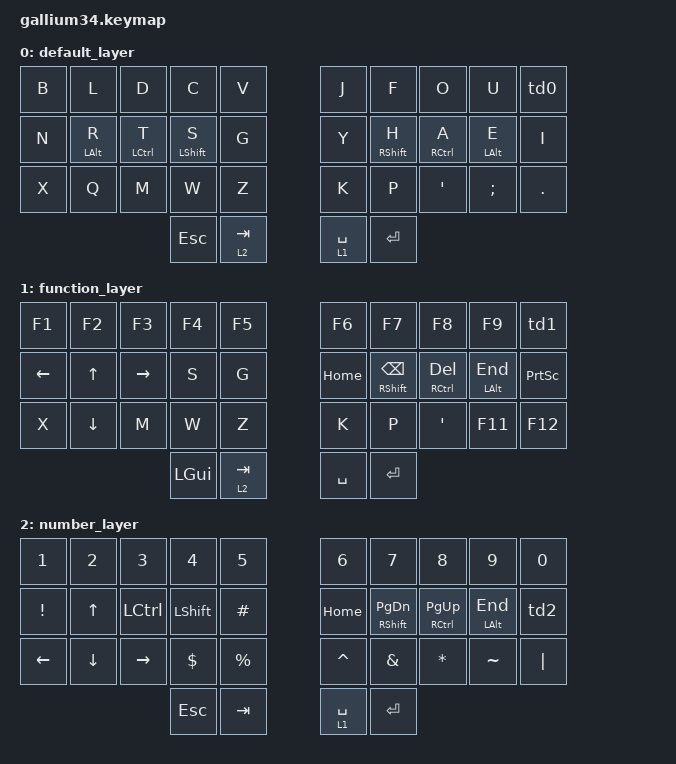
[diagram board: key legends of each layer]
#include <behaviors.dtsi>
#include <dt-bindings/zmk/keys.h>
#include <dt-bindings/zmk/bt.h>

&soft_off {
    hold-time-ms = <5000>;
};

#define QUICK_TAP_MS 175
#define KEYS_L 0 1 2 3 4 10 11 12 13 14 20 21 22 23 24 30 31 32 33 // left hand
#define KEYS_R 5 6 7 8 9 15 16 17 18 19 25 26 27 28 29 30 31 32 33 // right hand

/ {
    behaviors {
        hm: homerow_mods {
            compatible = "zmk,behavior-hold-tap";
            #binding-cells = <2>;
            tapping-term-ms = <150>;
            quick-tap-ms = <0>;
            flavor = "tap-preferred";
            bindings = <&kp>, <&kp>;
        };
        lhm: homerow_left {
            compatible = "zmk,behavior-hold-tap";
            #binding-cells = <2>;
            flavor = "balanced";
            tapping-term-ms = <280>;
            quick-tap-ms = <QUICK_TAP_MS>;
            require-prior-idle-ms = <150>;
            bindings = <&kp>, <&kp>;
            hold-trigger-key-positions = <KEYS_R>;
            hold-trigger-on-release;
        };
        rhm: homerow_right {
            compatible = "zmk,behavior-hold-tap";
            #binding-cells = <2>;
            flavor = "balanced";
            tapping-term-ms = <280>;
            quick-tap-ms = <QUICK_TAP_MS>;
            require-prior-idle-ms = <150>;
            bindings = <&kp>, <&kp>;
            hold-trigger-key-positions = <KEYS_L>;
            hold-trigger-on-release;
        };
        mo_kp: behavior_mo_tog {
            compatible = "zmk,behavior-hold-tap";
            #binding-cells = <2>;
            flavor = "hold-preferred";
            tapping-term-ms = <200>;
            bindings = <&mo>, <&kp>;
        };
        td0: tap_dance_0 {
            compatible = "zmk,behavior-tap-dance";
            #binding-cells = <0>;
            tapping-term-ms = <200>;
            bindings = <&kp COMMA>, <&to 0>, <&to 1>;
        };
        td1: tap_dance_1 {
            compatible = "zmk,behavior-tap-dance";
            #binding-cells = <0>;
            tapping-term-ms = <200>;
            bindings = <&kp F10>, <&to 0>, <&to 1>;
        };
        td2: tap_dance_2 {
            compatible = "zmk,behavior-tap-dance";
            #binding-cells = <0>;
            tapping-term-ms = <200>;
            bindings = <&kp AT>, <&bt BT_CLR>, <&soft_off>;
        };
    };
    keymap {
        compatible = "zmk,keymap";

        // This is a sample keymap intended to be replaced with your own
        default_layer { // gallium homerow
            bindings = <
                &kp B &kp L       &kp D       &kp C        &kp V        &kp J          &kp F        &kp O        &kp U       &td0
                &kp N &lhm LALT R &hm LCTRL T &lhm LSHFT S &kp G        &kp Y          &rhm RSHFT H &rhm RCTRL A &rhm LALT E &kp I
                &kp X &kp Q       &kp M       &kp W        &kp Z        &kp K          &kp P        &kp SQT      &kp SEMI    &kp DOT
                                              &kp ESC      &mo_kp 2 TAB &mo_kp 1 SPACE &kp RET
            >;
        };
        function_layer {
            bindings = <
                &kp F1   &kp F2   &kp F3    &kp F4    &kp F5       &kp F6    &kp F7          &kp F8         &kp F9        &td1
                &kp LEFT &kp UP   &kp RIGHT &kp S     &kp G        &kp HOME  &rhm RSHFT BSPC &rhm RCTRL DEL &rhm LALT END &kp PSCRN
                &kp X    &kp DOWN &kp M     &kp W     &kp Z        &kp K     &kp P           &kp SQT        &kp F11       &kp F12
                                            &kp LGUI  &mo_kp 2 TAB &kp SPACE &kp RET
            >;
        };
        number_layer {
            bindings = <
                &kp N1   &kp N2   &kp N3    &kp N4     &kp N5    &kp N6         &kp N7           &kp N8           &kp N9        &kp N0
                &kp EXCL &kp UP   &kp LCTRL &kp LSHIFT &kp HASH  &kp HOME       &rhm RSHFT PG_DN &rhm RCTRL PG_UP &rhm LALT END &td2
                &kp LEFT &kp DOWN &kp RIGHT &kp DLLR   &kp PRCNT &kp CARET      &kp AMPS         &kp STAR         &kp TILDE     &kp PIPE
                                            &kp ESC    &kp TAB   &mo_kp 1 SPACE &kp RET
            >;
        };
    };
    combos {
        compatible = "zmk,combos";
        combo_bracket_left {
            timeout-ms = <60>;
            key-positions = <1 2>;
            bindings = <&kp LBKT>;
        };
        combo_bracket_right {
            timeout-ms = <50>;
            key-positions = <2 3>;
            bindings = <&kp RBKT>;
        };
        combo_paren_left {
            timeout-ms = <50>;
            key-positions = <6 7>;
            bindings = <&kp LPAR>;
        };
        combo_paren_right {
            timeout-ms = <60>;
            key-positions = <7 8>;
            bindings = <&kp RPAR>;
        };
        combo_minus {
            timeout-ms = <60>;
            key-positions = <21 22>;
            bindings = <&kp MINUS>;
        };
        combo_plus {
            timeout-ms = <50>;
            key-positions = <22 23>;
            bindings = <&kp EQUAL>;
        };
        combo_backslash {
            timeout-ms = <50>;
            key-positions = <26 27>;
            bindings = <&kp BSLH>;
        };
        combo_slash {
            timeout-ms = <60>;
            key-positions = <27 28>;
            bindings = <&kp FSLH>;
        };
        combo_grave {
            timeout-ms = <40>;
            key-positions = <14 24>;
            bindings = <&kp GRAVE>;
        };
        combo_bootloader1 {
            timeout-ms = <50>;
            key-positions = <30 31>;
            bindings = <&bootloader>;
        };
        combo_bootloader2 {
            timeout-ms = <50>;
            key-positions = <32 33>;
            bindings = <&bootloader>;
        };
    };
};
